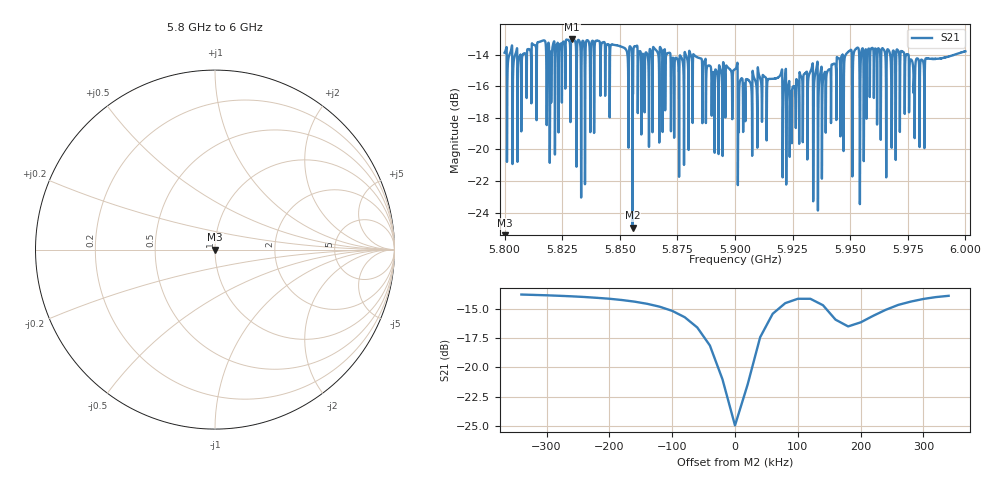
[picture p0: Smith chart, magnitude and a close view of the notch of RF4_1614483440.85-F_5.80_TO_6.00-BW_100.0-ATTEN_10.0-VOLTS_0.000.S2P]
!Keysight Technologies,E5063A,MY54502693,A.05.04
!Date: Sat Feb 27 20:37:40 2021
!Data & Calibration Information:
!Freq	S11:NONE(--)	S21:NONE(--)	S12:NONE(--)	S22:NONE(--)
# Hz S RI R 50
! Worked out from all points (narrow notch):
!   10000 points, 5.8 GHz to 6 GHz, reference 50 ohm
!   highest |S21| = -13.01 dB at 5.8293 GHz (marker M1); lowest = -25.0 dB at 5.8555 GHz (marker M2)
!   notch at M2: 10.7 dB deep, 59.2 kHz wide at half that depth
!   lowest |S11| = - dB at 5.8 GHz (marker M3), VSWR 1.00, Z = 50 + j0 ohm
!   |S11| at or under -10 dB: start of sweep to end of sweep
!   S12 and S22 are empty: the file has one direction only
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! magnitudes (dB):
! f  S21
! 5.8 GHz  -13.9
! 5.8065 GHz  -14.1
! 5.8168 GHz  -13.1
! 5.819 GHz  -13.2
! 5.8293 GHz  -13.0
! 5.8333 GHz  -15.6
! 5.8555 GHz  -25.0
! 5.8667 GHz  -14.0
! 5.892 GHz  -15.0
! 5.9 GHz  -14.9
! 5.9022 GHz  -15.7
! 5.9195 GHz  -15.3
! 5.9232 GHz  -15.9
! 5.9334 GHz  -14.8
! 5.9369 GHz  -15.3
! 5.9496 GHz  -13.8
! 5.953 GHz  -13.6
! 5.9551 GHz  -13.7
! 5.9585 GHz  -16.7
! 5.9667 GHz  -13.7
! 5.9776 GHz  -16.0
! 6 GHz  -13.8
